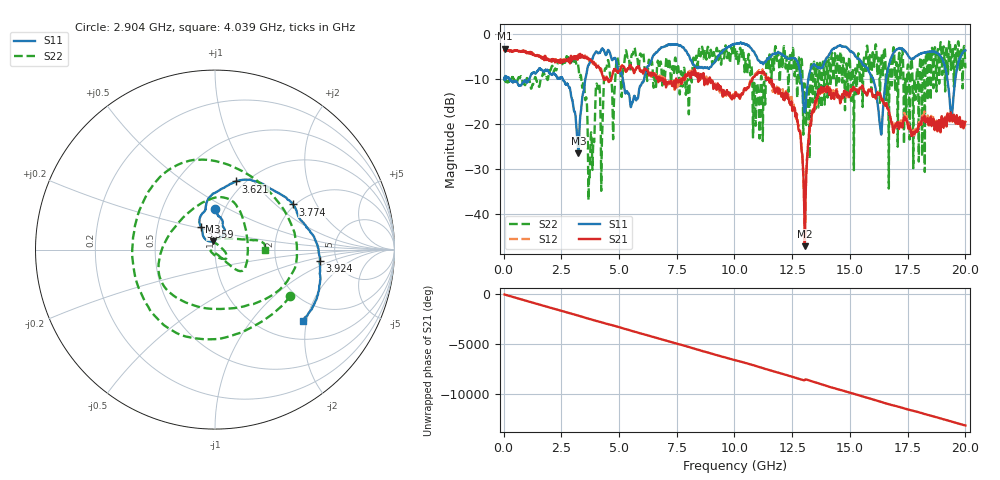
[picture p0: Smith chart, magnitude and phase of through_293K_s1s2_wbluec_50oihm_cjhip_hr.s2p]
!Agilent Technologies,E8364A,US41440322,A.04.87.01
!Agilent E8364A: A.04.87.01
!Date: Thursday, July 11, 2024 14:21:50
!Correction: S11(Full 2 Port SOLT,1,2) S21(Full 2 Port SOLT,1,2) S12(Full 2 Port SOLT,1,2) S22(Full 2 Port SOLT,1,2)
!S2P File: Measurements: S11, S21, S12, S22:
# Hz S  dB  R 50
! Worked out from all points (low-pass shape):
!   6401 points, 45 MHz to 20 GHz, reference 50 ohm
!   highest |S21| = -3.37 dB at 48.12 MHz (marker M1); lowest = -47.0 dB at 13.05 GHz (marker M2)
!   |S21| within 3 dB of the highest: start of sweep to 2.228 GHz; 2.889 GHz to 3.875 GHz (985.9 MHz wide, 29.2 % of centre)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
!   lowest |S11| = -26.5 dB at 3.244 GHz (marker M3), VSWR 1.10, Z = 48.8 + j4.52 ohm
!   |S11| at or under -10 dB: 256.3 MHz to 1.117 GHz (861 MHz wide, 125 % of centre); 2.559 GHz to 3.544 GHz (984.9 MHz wide, 32.3 % of centre); 5.161 GHz to 6.089 GHz (927.6 MHz wide, 16.5 % of centre)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
!   |S22| runs from -36.8 to -1.5 dB; largest |S21 - S12| = 0.073
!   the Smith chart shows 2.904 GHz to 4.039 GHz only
!   S11 on the Smith chart (normalised r, x): 2.904 GHz: 0.90, +0.43; 3.359 GHz: 0.83, +0.21; 3.621 GHz: 0.91, +0.82; 3.774 GHz: 1.95, +1.31; 3.924 GHz: 3.71, -0.71; 4.039 GHz: 1.44, -1.90
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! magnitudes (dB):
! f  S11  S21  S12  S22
! 45 MHz  -9.7  -3.6  -3.7  -9.7
! 48.12 MHz  -9.9  -3.4  -3.7  -10.2
! 2.904 GHz  -13.0  -5.5  -5.6  -6.1
! 3.244 GHz  -26.5  -4.7  -5.0  -7.5
! 3.359 GHz  -16.7  -5.2  -5.1  -9.7
! 3.372 GHz  -16.1  -4.9  -5.0  -10.3
! 3.621 GHz  -8.0  -5.5  -5.2  -17.1
! 3.774 GHz  -6.0  -5.9  -6.0  -22.6
! 3.924 GHz  -4.6  -6.5  -6.6  -23.9
! 4.039 GHz  -4.0  -7.4  -7.4  -11.1
! 5.554 GHz  -15.4  -7.7  -7.6  -4.6
! 6.699 GHz  -3.7  -10.7  -10.2  -6.3
! 10.02 GHz  -2.3  -13.7  -13.2  -3.4
! 11 GHz  -5.7  -8.9  -8.5  -11.3
! 12.4 GHz  -5.6  -15.4  -14.8  -4.9
! 13.05 GHz  -17.3  -47.0  -46.2  -11.4
! 13.35 GHz  -7.2  -17.7  -17.2  -8.2
! 14.89 GHz  -3.2  -13.1  -13.6  -10.7
! 16.33 GHz  -21.7  -13.8  -13.9  -6.6
! 16.68 GHz  -7.2  -16.9  -16.8  -21.0
! 19.4 GHz  -18.4  -18.8  -18.6  -5.9
! 20 GHz  -3.7  -19.5  -20.1  -7.7
